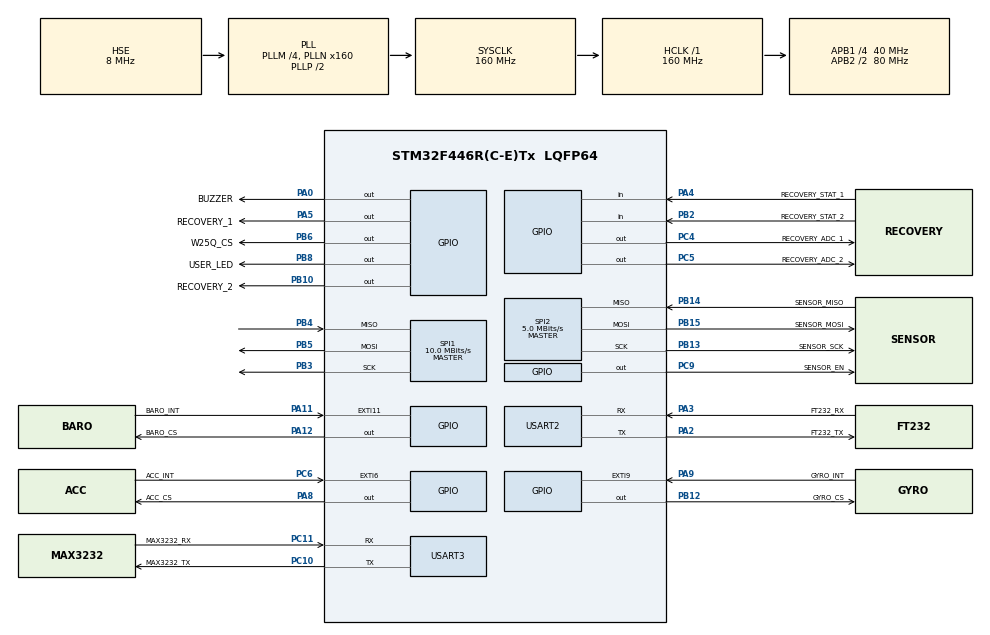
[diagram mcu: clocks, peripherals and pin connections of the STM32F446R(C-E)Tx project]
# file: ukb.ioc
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Dma.Request0=USART2_RX
Dma.Request1=USART2_TX
Dma.Request2=USART3_RX
Dma.Request3=USART3_TX
Dma.Request4=SPI1_TX
Dma.SPI1_TX.4.Direction=DMA_MEMORY_TO_PERIPH
Dma.SPI1_TX.4.FIFOMode=DMA_FIFOMODE_DISABLE
Dma.SPI1_TX.4.Instance=DMA2_Stream3
Dma.SPI1_TX.4.MemDataAlignment=DMA_MDATAALIGN_BYTE
Dma.SPI1_TX.4.MemInc=DMA_MINC_ENABLE
Dma.SPI1_TX.4.Mode=DMA_NORMAL
Dma.SPI1_TX.4.PeriphDataAlignment=DMA_PDATAALIGN_BYTE
Dma.SPI1_TX.4.PeriphInc=DMA_PINC_DISABLE
Dma.SPI1_TX.4.Priority=DMA_PRIORITY_LOW
Dma.USART2_RX.0.Direction=DMA_PERIPH_TO_MEMORY
Dma.USART2_RX.0.FIFOMode=DMA_FIFOMODE_DISABLE
Dma.USART2_RX.0.Instance=DMA1_Stream5
Dma.USART2_RX.0.MemDataAlignment=DMA_MDATAALIGN_BYTE
Dma.USART2_RX.0.MemInc=DMA_MINC_ENABLE
Dma.USART2_RX.0.Mode=DMA_NORMAL
Dma.USART2_RX.0.PeriphDataAlignment=DMA_PDATAALIGN_BYTE
Dma.USART2_RX.0.PeriphInc=DMA_PINC_DISABLE
Dma.USART2_RX.0.Priority=DMA_PRIORITY_LOW
Dma.USART2_TX.1.Direction=DMA_MEMORY_TO_PERIPH
Dma.USART2_TX.1.FIFOMode=DMA_FIFOMODE_DISABLE
Dma.USART2_TX.1.Instance=DMA1_Stream6
Dma.USART2_TX.1.MemDataAlignment=DMA_MDATAALIGN_BYTE
Dma.USART2_TX.1.MemInc=DMA_MINC_ENABLE
Dma.USART2_TX.1.Mode=DMA_NORMAL
Dma.USART2_TX.1.PeriphDataAlignment=DMA_PDATAALIGN_BYTE
Dma.USART2_TX.1.PeriphInc=DMA_PINC_DISABLE
Dma.USART2_TX.1.Priority=DMA_PRIORITY_LOW
Dma.USART3_RX.2.Direction=DMA_PERIPH_TO_MEMORY
Dma.USART3_RX.2.FIFOMode=DMA_FIFOMODE_DISABLE
Dma.USART3_RX.2.Instance=DMA1_Stream1
Dma.USART3_RX.2.MemDataAlignment=DMA_MDATAALIGN_BYTE
Dma.USART3_RX.2.MemInc=DMA_MINC_ENABLE
Dma.USART3_RX.2.Mode=DMA_NORMAL
Dma.USART3_RX.2.PeriphDataAlignment=DMA_PDATAALIGN_BYTE
Dma.USART3_RX.2.PeriphInc=DMA_PINC_DISABLE
Dma.USART3_RX.2.Priority=DMA_PRIORITY_LOW
Dma.USART3_TX.3.Direction=DMA_MEMORY_TO_PERIPH
Dma.USART3_TX.3.FIFOMode=DMA_FIFOMODE_DISABLE
Dma.USART3_TX.3.Instance=DMA1_Stream3
Dma.USART3_TX.3.MemDataAlignment=DMA_MDATAALIGN_BYTE
Dma.USART3_TX.3.MemInc=DMA_MINC_ENABLE
Dma.USART3_TX.3.Mode=DMA_NORMAL
Dma.USART3_TX.3.PeriphDataAlignment=DMA_PDATAALIGN_BYTE
Dma.USART3_TX.3.PeriphInc=DMA_PINC_DISABLE
Dma.USART3_TX.3.Priority=DMA_PRIORITY_LOW
Mcu.Family=STM32F4
Mcu.Name=STM32F446R(C-E)Tx
Mcu.Package=LQFP64
NVIC.DMA1_Stream1_IRQn=true\:2\:0\:true\:false\:true\:false\:true\:true
NVIC.DMA1_Stream3_IRQn=true\:2\:0\:true\:false\:true\:false\:true\:true
NVIC.DMA1_Stream5_IRQn=true\:2\:0\:true\:false\:true\:false\:true\:true
NVIC.DMA1_Stream6_IRQn=true\:2\:0\:true\:false\:true\:false\:true\:true
NVIC.DMA2_Stream3_IRQn=true\:6\:0\:true\:false\:true\:false\:true\:true
NVIC.EXTI15_10_IRQn=true\:1\:0\:true\:false\:true\:true\:true\:true
NVIC.EXTI9_5_IRQn=true\:1\:0\:true\:false\:true\:true\:true\:true
NVIC.PriorityGroup=NVIC_PRIORITYGROUP_4
NVIC.SPI1_IRQn=true\:6\:0\:true\:false\:true\:true\:true\:true
NVIC.TIM2_IRQn=true\:3\:0\:true\:false\:true\:true\:true\:true
NVIC.USART2_IRQn=true\:2\:0\:true\:false\:true\:true\:true\:true
NVIC.USART3_IRQn=true\:2\:0\:true\:false\:true\:true\:true\:true
PA0-WKUP.GPIO_Label=BUZZER
PA0-WKUP.Signal=GPIO_Output
PA11.GPIO_Label=BARO_INT
PA11.Signal=GPXTI11
PA12.GPIO_Label=BARO_CS
PA12.GPIO_PuPd=GPIO_PULLUP
PA12.GPIO_Speed=GPIO_SPEED_FREQ_VERY_HIGH
PA12.PinState=GPIO_PIN_SET
PA12.Signal=GPIO_Output
PA13.Mode=Serial_Wire
PA13.Signal=SYS_JTMS-SWDIO
PA14.Mode=Serial_Wire
PA14.Signal=SYS_JTCK-SWCLK
PA2.GPIO_Label=FT232_TX
PA2.Mode=Asynchronous
PA2.Signal=USART2_TX
PA3.GPIO_Label=FT232_RX
PA3.Mode=Asynchronous
PA3.Signal=USART2_RX
PA4.GPIO_Label=RECOVERY_STAT_1
PA4.Signal=GPIO_Input
PA5.GPIO_Label=RECOVERY_1
PA5.GPIO_PuPd=GPIO_PULLDOWN
PA5.Signal=GPIO_Output
PA8.GPIO_Label=ACC_CS
PA8.GPIO_PuPd=GPIO_PULLUP
PA8.GPIO_Speed=GPIO_SPEED_FREQ_VERY_HIGH
PA8.PinState=GPIO_PIN_SET
PA8.Signal=GPIO_Output
PA9.GPIO_Label=GYRO_INT
PA9.Signal=GPXTI9
PB10.GPIO_Label=RECOVERY_2
PB10.GPIO_PuPd=GPIO_PULLDOWN
PB10.Signal=GPIO_Output
PB12.GPIO_Label=GYRO_CS
PB12.GPIO_PuPd=GPIO_PULLUP
PB12.GPIO_Speed=GPIO_SPEED_FREQ_VERY_HIGH
PB12.PinState=GPIO_PIN_SET
PB12.Signal=GPIO_Output
PB13.GPIO_Label=SENSOR_SCK
PB13.Mode=Full_Duplex_Master
PB13.Signal=SPI2_SCK
PB14.GPIO_Label=SENSOR_MISO
PB14.Mode=Full_Duplex_Master
PB14.Signal=SPI2_MISO
PB15.GPIO_Label=SENSOR_MOSI
PB15.Mode=Full_Duplex_Master
PB15.Signal=SPI2_MOSI
PB2.GPIO_Label=RECOVERY_STAT_2
PB2.Signal=GPIO_Input
PB3.Mode=Full_Duplex_Master
PB3.Signal=SPI1_SCK
PB4.Mode=Full_Duplex_Master
PB4.Signal=SPI1_MISO
PB5.Mode=Full_Duplex_Master
PB5.Signal=SPI1_MOSI
PB6.GPIO_Label=W25Q_CS
PB6.GPIO_PuPd=GPIO_PULLUP
PB6.GPIO_Speed=GPIO_SPEED_FREQ_VERY_HIGH
PB6.PinState=GPIO_PIN_SET
PB6.Signal=GPIO_Output
PB8.GPIO_Label=USER_LED
PB8.Signal=GPIO_Output
PC10.GPIO_Label=MAX3232_TX
PC10.Mode=Asynchronous
PC10.Signal=USART3_TX
PC11.GPIO_Label=MAX3232_RX
PC11.Mode=Asynchronous
PC11.Signal=USART3_RX
PC14-OSC32_IN.Mode=LSE-External-Oscillator
PC14-OSC32_IN.Signal=RCC_OSC32_IN
PC15-OSC32_OUT.Mode=LSE-External-Oscillator
PC15-OSC32_OUT.Signal=RCC_OSC32_OUT
PC4.GPIO_Label=RECOVERY_ADC_1
PC4.Signal=GPIO_Output
PC5.GPIO_Label=RECOVERY_ADC_2
PC5.Signal=GPIO_Output
PC6.GPIO_Label=ACC_INT
PC6.Signal=GPXTI6
PC9.GPIO_Label=SENSOR_EN
PC9.GPIO_PuPd=GPIO_PULLUP
PC9.PinState=GPIO_PIN_SET
PC9.Signal=GPIO_Output
PH0-OSC_IN.Mode=HSE-External-Oscillator
PH0-OSC_IN.Signal=RCC_OSC_IN
PH1-OSC_OUT.Mode=HSE-External-Oscillator
PH1-OSC_OUT.Signal=RCC_OSC_OUT
ProjectManager.HeapSize=0x200
ProjectManager.StackSize=0x400
ProjectManager.TargetToolchain=STM32CubeIDE
RCC.AHBFreq_Value=160000000
RCC.APB1CLKDivider=RCC_HCLK_DIV4
RCC.APB1Freq_Value=40000000
RCC.APB1TimFreq_Value=80000000
RCC.APB2CLKDivider=RCC_HCLK_DIV2
RCC.APB2Freq_Value=80000000
RCC.APB2TimFreq_Value=160000000
RCC.CortexFreq_Value=160000000
RCC.HCLKFreq_Value=160000000
RCC.HSE_VALUE=8000000
RCC.PLLM=4
RCC.PLLN=160
RCC.PLLSourceVirtual=RCC_PLLSOURCE_HSE
RCC.RCC_RTC_Clock_SourceVirtual=RCC_RTCCLKSOURCE_LSE
RCC.SYSCLKFreq_VALUE=160000000
RCC.SYSCLKSource=RCC_SYSCLKSOURCE_PLLCLK
RCC.USBFreq_Value=160000000
RCC.VCOOutputFreq_Value=320000000
RTC.Date=5
RTC.Hours=14
RTC.Month=RTC_MONTH_JULY
RTC.WeekDay=RTC_WEEKDAY_SUNDAY
RTC.Year=26
SPI1.BaudRatePrescaler=SPI_BAUDRATEPRESCALER_8
SPI1.CalculateBaudRate=10.0 MBits/s
SPI1.Direction=SPI_DIRECTION_2LINES
SPI1.Mode=SPI_MODE_MASTER
SPI1.VirtualType=VM_MASTER
SPI2.BaudRatePrescaler=SPI_BAUDRATEPRESCALER_8
SPI2.CalculateBaudRate=5.0 MBits/s
SPI2.Direction=SPI_DIRECTION_2LINES
SPI2.Mode=SPI_MODE_MASTER
SPI2.VirtualType=VM_MASTER
TIM2.Period=999
TIM2.Prescaler=7999
TIM5.Prescaler=79
USART2.VirtualMode=VM_ASYNC
USART3.VirtualMode=VM_ASYNC
VP_RTC_VS_RTC_Activate.Mode=RTC_Enabled
VP_RTC_VS_RTC_Calendar.Mode=RTC_Calendar
VP_TIM2_VS_ClockSourceINT.Mode=Internal
VP_TIM5_VS_ClockSourceINT.Mode=Internal
board=custom

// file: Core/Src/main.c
/* USER CODE BEGIN Header */
/**
 ******************************************************************************
 * @file           : main.c
 * @brief          : Main program body
 ******************************************************************************
 * @attention
 *
 * Copyright (c) 2026 STMicroelectronics.
 * All rights reserved.
 *
 * This software is licensed under terms that can be found in the LICENSE file
 * in the root directory of this software component.
 * If no LICENSE file comes with this software, it is provided AS-IS.
 *
 ******************************************************************************
 */
/* USER CODE END Header */
#include "main.h"

/* USER CODE BEGIN Includes */
#include <stdio.h>
#include <string.h>

#include "bmi088.h"
#include "bmp390.h"
#include "flight_data.h"
#include "data_manager.h"
#include "flight_algorithm.h"
#include "uart_handler.h"
#include "sensor_fusion.h"
#include "quaternion.h"
#include "kalman_filter.h"
#include "backup_domain.h"
#include "w25q.h"

/* USER CODE END Includes */

/* USER CODE BEGIN PD */
//#define UKB_TEST_WITH_TYPE_C
#ifdef UKB_TEST_WITH_TYPE_C
	#define TEST_UART &huart2
    #define TEST_USARTx USART2
#else
    #define TEST_UART &huart3
    #define TEST_USARTx USART3
#endif

/* USER CODE END PD */

RTC_HandleTypeDef hrtc;

SPI_HandleTypeDef hspi1;
SPI_HandleTypeDef hspi2;
DMA_HandleTypeDef hdma_spi1_tx;

TIM_HandleTypeDef htim2;
TIM_HandleTypeDef htim5;

UART_HandleTypeDef huart2;
UART_HandleTypeDef huart3;
DMA_HandleTypeDef hdma_usart2_rx;
DMA_HandleTypeDef hdma_usart2_tx;
DMA_HandleTypeDef hdma_usart3_rx;
DMA_HandleTypeDef hdma_usart3_tx;

/* USER CODE BEGIN PV */
BMI088_HandleTypeDef bmi088;
BMP390_HandleTypeDef bmp390;

FlightData flight_data = { 0 };

UartHandler_HandleTypeDef uart_handler;

Quaternion_HandleTypeDef quaternion;
KalmanFilter_HandleTypeDef kalman;

Backup_Domain_HandleTypeDef backup_domain;

W25Q_HandleTypeDef w25q;
uint8_t flash_data_packet[W25Q_PACKET_SIZE];

volatile uint8_t timer_flag_100ms = 0;

char tx_buffer[200];

/* USER CODE END PV */

void SystemClock_Config(void);
static void MX_GPIO_Init(void);
static void MX_DMA_Init(void);
static void MX_SPI2_Init(void);
static void MX_RTC_Init(void);
static void MX_USART2_UART_Init(void);
static void MX_TIM2_Init(void);
static void MX_TIM5_Init(void);
static void MX_USART3_UART_Init(void);
static void MX_SPI1_Init(void);
/* USER CODE BEGIN PFP */
static void BMI088_IMU_Init(void);
static void BMP390_Baro_Init(void);

static void W25Q_Flash_LogData(void);
/* USER CODE END PFP */

int main(void)
{

	/* MCU Configuration--------------------------------------------------------*/

	/* Reset of all peripherals, Initializes the Flash interface and the Systick. */
	HAL_Init();

	/* Configure the system clock */
	SystemClock_Config();

	/* Initialize all configured peripherals */
	MX_GPIO_Init();
	MX_DMA_Init();
	MX_SPI2_Init();
	MX_RTC_Init();
	MX_USART2_UART_Init();
	MX_TIM2_Init();
	MX_TIM5_Init();
	MX_USART3_UART_Init();
	MX_SPI1_Init();
	/* USER CODE BEGIN 2 */

	HAL_GPIO_WritePin(USER_LED_GPIO_Port, USER_LED_Pin, GPIO_PIN_SET);
	/* use for 100ms interrupt */
	HAL_TIM_Base_Start_IT(&htim2);
	HAL_NVIC_SetPriority(TIM2_IRQn, 2, 0);
	HAL_NVIC_EnableIRQ(TIM2_IRQn);

	/* use to calculate dt in microsecond */
	HAL_TIM_Base_Start(&htim5);

	BackupDomain_Init(&backup_domain, &hrtc);

	if (backup_domain_is_reset_occured(&backup_domain))
	{
		BMI088_IMU_Init();
		BMI088_Config(&bmi088);
		BackupDomain_ReadSRAM(&backup_domain, (uint8_t*) bmi088.configuration.offsets.acc_offset, BACKUP_DOMAIN_ACC_OFFSET, 12);
		BackupDomain_ReadSRAM(&backup_domain, (uint8_t*) bmi088.configuration.offsets.gyro_offset, BACKUP_DOMAIN_GYRO_OFFSET, 12);
		HAL_Delay(20);
		BMI088_Update(&bmi088);

		Quaternion_Recover(&quaternion, -bmi088.data.acc_x, -bmi088.data.acc_y, bmi088.data.acc_z, &backup_domain);

		BMP390_Baro_Init();
		BMP390_Config(&bmp390);
		BackupDomain_ReadSRAM(&backup_domain, (uint8_t*) &bmp390.data.base_altitude, BACKUP_DOMAIN_BASE_ALTITUDE, 4);
		HAL_Delay(50);
		BMP390_Update(&bmp390);
		flight_data.raw.base_altitude = bmp390.data.base_altitude;

		UartHandler_Start(&uart_handler, TEST_UART);

		FlightAlgorithm_Recover(&flight_data, &backup_domain);

		BackupDomain_ReadSRAM(&backup_domain, (uint8_t*) &uart_handler.system_mode, BACKUP_DOMAIN_SYSTEM_MODE, 1);

		KalmanFilter_Init(&kalman);
		KalmanFilter_Recover(&kalman, &backup_domain);

		W25Q_Recover(&w25q, &hspi1, W25Q_CS_GPIO_Port, W25Q_CS_Pin, TEST_UART, &backup_domain);
	}
	else
	{
        HAL_GPIO_WritePin(BUZZER_GPIO_Port, BUZZER_Pin, GPIO_PIN_SET);
        HAL_Delay(500);
		HAL_GPIO_WritePin(BUZZER_GPIO_Port, BUZZER_Pin, GPIO_PIN_RESET);
		HAL_Delay(4000);
		HAL_GPIO_WritePin(USER_LED_GPIO_Port, USER_LED_Pin, GPIO_PIN_RESET);
		HAL_Delay(500);
		HAL_GPIO_WritePin(USER_LED_GPIO_Port, USER_LED_Pin, GPIO_PIN_SET);

		BMI088_IMU_Init();
		BMI088_Config(&bmi088);
		BMI088_GetOffset(&bmi088);
		BackupDomain_WriteSRAM(&backup_domain, (uint8_t*) bmi088.configuration.offsets.acc_offset, BACKUP_DOMAIN_ACC_OFFSET, 12);
		BackupDomain_WriteSRAM(&backup_domain, (uint8_t*) bmi088.configuration.offsets.gyro_offset, BACKUP_DOMAIN_GYRO_OFFSET, 12);
		HAL_Delay(20);
		BMI088_Update(&bmi088);

		Quaternion_Init(&quaternion, -bmi088.data.acc_x, -bmi088.data.acc_y, bmi088.data.acc_z);

		BMP390_Baro_Init();
		BMP390_Config(&bmp390);
		BMP390_SetBaseAltitude(&bmp390);
		BackupDomain_WriteSRAM(&backup_domain, (uint8_t*) &bmp390.data.base_altitude, BACKUP_DOMAIN_BASE_ALTITUDE, 4);
		HAL_Delay(50);
		BMP390_Update(&bmp390);
		flight_data.raw.base_altitude = bmp390.data.base_altitude;

		UartHandler_Start(&uart_handler, TEST_UART);

		FlightAlgorithm_Reset(&flight_data);

		KalmanFilter_Init(&kalman);

		W25Q_Init(&w25q, &hspi1, W25Q_CS_GPIO_Port, W25Q_CS_Pin, TEST_UART);

		HAL_GPIO_WritePin(BUZZER_GPIO_Port, BUZZER_Pin, GPIO_PIN_SET);
		HAL_Delay(500);
		HAL_GPIO_WritePin(BUZZER_GPIO_Port, BUZZER_Pin, GPIO_PIN_RESET);
	}
	HAL_GPIO_WritePin(USER_LED_GPIO_Port, USER_LED_Pin, GPIO_PIN_RESET);

	/* USER CODE END 2 */

	/* Infinite loop */
	/* USER CODE BEGIN WHILE */
	while (1)
	{
		BMI088_Update(&bmi088);
		BMP390_Update(&bmp390);

		DataManager_UpdateFlightData(&flight_data, &bmi088, &bmp390);

		SensorFusion_QuaternionUpdate(&flight_data, &quaternion);

		UartHandler_ProcessPacket(&uart_handler, &w25q);

		if (uart_handler_get_is_command_packet_ready_flag(&uart_handler) == 1)
		{
			uart_handler_clear_is_command_packet_ready_flag(&uart_handler);
			FlightAlgorithm_Reset(&flight_data);
			KalmanFilter_Reset(&kalman);
		}

		if (timer_flag_100ms)
		{
			timer_flag_100ms = 0;

			switch (uart_handler.system_mode)
			{
				case NORMAL_MODE:
					SensorFusion_KalmanUpdate(&flight_data, &kalman, &uart_handler);
					FlightAlgorithm_Update(&flight_data);
					break;

				case SIT_MODE:
					SensorFusion_KalmanUpdate(&flight_data, &kalman, &uart_handler);
					DataManager_UpdateSitPacket(&flight_data, &uart_handler);
					UartHandler_SendSitPacket(&uart_handler);
					break;

				case SUT_MODE:
					DataManager_UpdateFlightDataWithSutPacket(&flight_data, &uart_handler);
					SensorFusion_KalmanUpdate(&flight_data, &kalman, &uart_handler);
					FlightAlgorithm_Update(&flight_data);
					DataManager_UpdateSutStatePacket(&flight_data, &uart_handler);
					UartHandler_SendSutStatePacket(&uart_handler);
					break;
			}

            W25Q_CommandHandler(&w25q);
            W25Q_Flash_LogData();

			DataManager_UpdateBKPSRAMPacket(&flight_data, &uart_handler, &backup_domain, &w25q);
			BackupDomain_WriteSRAM(&backup_domain, flight_data.bkpsram_packet, 0, BKPSRAM_PACKET_SIZE);
		}
		/* USER CODE END WHILE */

	}
}

void SystemClock_Config(void)
{
	RCC_OscInitTypeDef RCC_OscInitStruct = { 0 };
	RCC_ClkInitTypeDef RCC_ClkInitStruct = { 0 };

	/** Configure the main internal regulator output voltage
	 */
	__HAL_RCC_PWR_CLK_ENABLE();
	__HAL_PWR_VOLTAGESCALING_CONFIG(PWR_REGULATOR_VOLTAGE_SCALE1);

	/** Initializes the RCC Oscillators according to the specified parameters
	 * in the RCC_OscInitTypeDef structure.
	 */
	RCC_OscInitStruct.OscillatorType = RCC_OSCILLATORTYPE_HSE | RCC_OSCILLATORTYPE_LSE;
	RCC_OscInitStruct.HSEState = RCC_HSE_ON;
	RCC_OscInitStruct.LSEState = RCC_LSE_ON;
	RCC_OscInitStruct.PLL.PLLState = RCC_PLL_ON;
	RCC_OscInitStruct.PLL.PLLSource = RCC_PLLSOURCE_HSE;
	RCC_OscInitStruct.PLL.PLLM = 4;
	RCC_OscInitStruct.PLL.PLLN = 160;
	RCC_OscInitStruct.PLL.PLLP = RCC_PLLP_DIV2;
	RCC_OscInitStruct.PLL.PLLQ = 2;
	RCC_OscInitStruct.PLL.PLLR = 2;
	if (HAL_RCC_OscConfig(&RCC_OscInitStruct) != HAL_OK)
	{
		Error_Handler();
	}

	/** Initializes the CPU, AHB and APB buses clocks
	 */
	RCC_ClkInitStruct.ClockType = RCC_CLOCKTYPE_HCLK | RCC_CLOCKTYPE_SYSCLK | RCC_CLOCKTYPE_PCLK1 | RCC_CLOCKTYPE_PCLK2;
	RCC_ClkInitStruct.SYSCLKSource = RCC_SYSCLKSOURCE_PLLCLK;
	RCC_ClkInitStruct.AHBCLKDivider = RCC_SYSCLK_DIV1;
	RCC_ClkInitStruct.APB1CLKDivider = RCC_HCLK_DIV4;
	RCC_ClkInitStruct.APB2CLKDivider = RCC_HCLK_DIV2;

	if (HAL_RCC_ClockConfig(&RCC_ClkInitStruct, FLASH_LATENCY_5) != HAL_OK)
	{
		Error_Handler();
	}
}

static void MX_RTC_Init(void)
{

	RTC_TimeTypeDef sTime = { 0 };
	RTC_DateTypeDef sDate = { 0 };

	/** Initialize RTC Only
	 */
	hrtc.Instance = RTC;
	hrtc.Init.HourFormat = RTC_HOURFORMAT_24;
	hrtc.Init.AsynchPrediv = 127;
	hrtc.Init.SynchPrediv = 255;
	hrtc.Init.OutPut = RTC_OUTPUT_DISABLE;
	hrtc.Init.OutPutPolarity = RTC_OUTPUT_POLARITY_HIGH;
	hrtc.Init.OutPutType = RTC_OUTPUT_TYPE_OPENDRAIN;
	if (HAL_RTC_Init(&hrtc) != HAL_OK)
	{
		Error_Handler();
	}

	/* USER CODE BEGIN Check_RTC_BKUP */
	const uint32_t MAGIC_NUMBER = 0x29AE74BF;
	if (HAL_RTCEx_BKUPRead(&hrtc, RTC_BKP_DR0) == MAGIC_NUMBER)
	{
		return;
	}
	/* USER CODE END Check_RTC_BKUP */

	/** Initialize RTC and set the Time and Date
	 */
	sTime.Hours = 0x14;
	sTime.Minutes = 0x0;
	sTime.Seconds = 0x0;
	sTime.DayLightSaving = RTC_DAYLIGHTSAVING_NONE;
	sTime.StoreOperation = RTC_STOREOPERATION_RESET;
	if (HAL_RTC_SetTime(&hrtc, &sTime, RTC_FORMAT_BCD) != HAL_OK)
	{
		Error_Handler();
	}
	sDate.WeekDay = RTC_WEEKDAY_SUNDAY;
	sDate.Month = RTC_MONTH_JULY;
	sDate.Date = 0x5;
	sDate.Year = 0x26;

	if (HAL_RTC_SetDate(&hrtc, &sDate, RTC_FORMAT_BCD) != HAL_OK)
	{
		Error_Handler();
	}
	/* USER CODE BEGIN RTC_Init 2 */
	HAL_RTCEx_BKUPWrite(&hrtc, RTC_BKP_DR0, MAGIC_NUMBER);
	/* USER CODE END RTC_Init 2 */

}

static void MX_SPI1_Init(void)
{

	/* SPI1 parameter configuration*/
	hspi1.Instance = SPI1;
	hspi1.Init.Mode = SPI_MODE_MASTER;
	hspi1.Init.Direction = SPI_DIRECTION_2LINES;
	hspi1.Init.DataSize = SPI_DATASIZE_8BIT;
	hspi1.Init.CLKPolarity = SPI_POLARITY_LOW;
	hspi1.Init.CLKPhase = SPI_PHASE_1EDGE;
	hspi1.Init.NSS = SPI_NSS_SOFT;
	hspi1.Init.BaudRatePrescaler = SPI_BAUDRATEPRESCALER_8;
	hspi1.Init.FirstBit = SPI_FIRSTBIT_MSB;
	hspi1.Init.TIMode = SPI_TIMODE_DISABLE;
	hspi1.Init.CRCCalculation = SPI_CRCCALCULATION_DISABLE;
	hspi1.Init.CRCPolynomial = 10;
	if (HAL_SPI_Init(&hspi1) != HAL_OK)
	{
		Error_Handler();
	}

}

static void MX_SPI2_Init(void)
{

	/* SPI2 parameter configuration*/
	hspi2.Instance = SPI2;
	hspi2.Init.Mode = SPI_MODE_MASTER;
	hspi2.Init.Direction = SPI_DIRECTION_2LINES;
	hspi2.Init.DataSize = SPI_DATASIZE_8BIT;
	hspi2.Init.CLKPolarity = SPI_POLARITY_LOW;
	hspi2.Init.CLKPhase = SPI_PHASE_1EDGE;
	hspi2.Init.NSS = SPI_NSS_SOFT;
	hspi2.Init.BaudRatePrescaler = SPI_BAUDRATEPRESCALER_8;
	hspi2.Init.FirstBit = SPI_FIRSTBIT_MSB;
	hspi2.Init.TIMode = SPI_TIMODE_DISABLE;
	hspi2.Init.CRCCalculation = SPI_CRCCALCULATION_DISABLE;
	hspi2.Init.CRCPolynomial = 10;
	if (HAL_SPI_Init(&hspi2) != HAL_OK)
	{
		Error_Handler();
	}

}

static void MX_TIM2_Init(void)
{

	TIM_ClockConfigTypeDef sClockSourceConfig = { 0 };
	TIM_MasterConfigTypeDef sMasterConfig = { 0 };

	htim2.Instance = TIM2;
	htim2.Init.Prescaler = 7999;
	htim2.Init.CounterMode = TIM_COUNTERMODE_UP;
	htim2.Init.Period = 999;
	htim2.Init.ClockDivision = TIM_CLOCKDIVISION_DIV1;
	htim2.Init.AutoReloadPreload = TIM_AUTORELOAD_PRELOAD_DISABLE;
	if (HAL_TIM_Base_Init(&htim2) != HAL_OK)
	{
		Error_Handler();
	}
	sClockSourceConfig.ClockSource = TIM_CLOCKSOURCE_INTERNAL;
	if (HAL_TIM_ConfigClockSource(&htim2, &sClockSourceConfig) != HAL_OK)
	{
		Error_Handler();
	}
	sMasterConfig.MasterOutputTrigger = TIM_TRGO_RESET;
	sMasterConfig.MasterSlaveMode = TIM_MASTERSLAVEMODE_DISABLE;
	if (HAL_TIMEx_MasterConfigSynchronization(&htim2, &sMasterConfig) != HAL_OK)
	{
		Error_Handler();
	}

}

static void MX_TIM5_Init(void)
{

	TIM_ClockConfigTypeDef sClockSourceConfig = { 0 };
	TIM_MasterConfigTypeDef sMasterConfig = { 0 };

	htim5.Instance = TIM5;
	htim5.Init.Prescaler = 79;
	htim5.Init.CounterMode = TIM_COUNTERMODE_UP;
	htim5.Init.Period = 4294967295;
	htim5.Init.ClockDivision = TIM_CLOCKDIVISION_DIV1;
	htim5.Init.AutoReloadPreload = TIM_AUTORELOAD_PRELOAD_DISABLE;
	if (HAL_TIM_Base_Init(&htim5) != HAL_OK)
	{
		Error_Handler();
	}
	sClockSourceConfig.ClockSource = TIM_CLOCKSOURCE_INTERNAL;
	if (HAL_TIM_ConfigClockSource(&htim5, &sClockSourceConfig) != HAL_OK)
	{
		Error_Handler();
	}
	sMasterConfig.MasterOutputTrigger = TIM_TRGO_RESET;
	sMasterConfig.MasterSlaveMode = TIM_MASTERSLAVEMODE_DISABLE;
	if (HAL_TIMEx_MasterConfigSynchronization(&htim5, &sMasterConfig) != HAL_OK)
	{
		Error_Handler();
	}

}

static void MX_USART2_UART_Init(void)
{

	huart2.Instance = USART2;
	huart2.Init.BaudRate = 115200;
	huart2.Init.WordLength = UART_WORDLENGTH_8B;
	huart2.Init.StopBits = UART_STOPBITS_1;
	huart2.Init.Parity = UART_PARITY_NONE;
	huart2.Init.Mode = UART_MODE_TX_RX;
	huart2.Init.HwFlowCtl = UART_HWCONTROL_NONE;
	huart2.Init.OverSampling = UART_OVERSAMPLING_16;
	if (HAL_UART_Init(&huart2) != HAL_OK)
	{
		Error_Handler();
	}

}

static void MX_USART3_UART_Init(void)
{

	huart3.Instance = USART3;
	huart3.Init.BaudRate = 115200;
	huart3.Init.WordLength = UART_WORDLENGTH_8B;
	huart3.Init.StopBits = UART_STOPBITS_1;
	huart3.Init.Parity = UART_PARITY_NONE;
	huart3.Init.Mode = UART_MODE_TX_RX;
	huart3.Init.HwFlowCtl = UART_HWCONTROL_NONE;
	huart3.Init.OverSampling = UART_OVERSAMPLING_16;
	if (HAL_UART_Init(&huart3) != HAL_OK)
	{
		Error_Handler();
	}

}

static void MX_DMA_Init(void)
{

	/* DMA controller clock enable */
	__HAL_RCC_DMA1_CLK_ENABLE();
	__HAL_RCC_DMA2_CLK_ENABLE();

	/* DMA interrupt init */
	/* DMA1_Stream1_IRQn interrupt configuration */
	HAL_NVIC_SetPriority(DMA1_Stream1_IRQn, 2, 0);
	HAL_NVIC_EnableIRQ(DMA1_Stream1_IRQn);
	/* DMA1_Stream3_IRQn interrupt configuration */
	HAL_NVIC_SetPriority(DMA1_Stream3_IRQn, 2, 0);
	HAL_NVIC_EnableIRQ(DMA1_Stream3_IRQn);
	/* DMA1_Stream5_IRQn interrupt configuration */
	HAL_NVIC_SetPriority(DMA1_Stream5_IRQn, 2, 0);
	HAL_NVIC_EnableIRQ(DMA1_Stream5_IRQn);
	/* DMA1_Stream6_IRQn interrupt configuration */
	HAL_NVIC_SetPriority(DMA1_Stream6_IRQn, 2, 0);
	HAL_NVIC_EnableIRQ(DMA1_Stream6_IRQn);
	/* DMA2_Stream3_IRQn interrupt configuration */
	HAL_NVIC_SetPriority(DMA2_Stream3_IRQn, 6, 0);
	HAL_NVIC_EnableIRQ(DMA2_Stream3_IRQn);

}

static void MX_GPIO_Init(void)
{
	GPIO_InitTypeDef GPIO_InitStruct = { 0 };

	/* GPIO Ports Clock Enable */
	__HAL_RCC_GPIOC_CLK_ENABLE();
	__HAL_RCC_GPIOH_CLK_ENABLE();
	__HAL_RCC_GPIOA_CLK_ENABLE();
	__HAL_RCC_GPIOB_CLK_ENABLE();

	/*Configure GPIO pin Output Level */
	HAL_GPIO_WritePin(GPIOA, BUZZER_Pin | RECOVERY_1_Pin, GPIO_PIN_RESET);

	/*Configure GPIO pin Output Level */
	HAL_GPIO_WritePin(GPIOC, RECOVERY_ADC_1_Pin | RECOVERY_ADC_2_Pin, GPIO_PIN_RESET);

	/*Configure GPIO pin Output Level */
	HAL_GPIO_WritePin(GPIOB, RECOVERY_2_Pin | USER_LED_Pin, GPIO_PIN_RESET);

	/*Configure GPIO pin Output Level */
	HAL_GPIO_WritePin(GPIOB, GYRO_CS_Pin | W25Q_CS_Pin, GPIO_PIN_SET);

	/*Configure GPIO pin Output Level */
	HAL_GPIO_WritePin(SENSOR_EN_GPIO_Port, SENSOR_EN_Pin, GPIO_PIN_SET);

	/*Configure GPIO pin Output Level */
	HAL_GPIO_WritePin(GPIOA, ACC_CS_Pin | BARO_CS_Pin, GPIO_PIN_SET);

	/*Configure GPIO pin : BUZZER_Pin */
	GPIO_InitStruct.Pin = BUZZER_Pin;
	GPIO_InitStruct.Mode = GPIO_MODE_OUTPUT_PP;
	GPIO_InitStruct.Pull = GPIO_NOPULL;
	GPIO_InitStruct.Speed = GPIO_SPEED_FREQ_LOW;
	HAL_GPIO_Init(BUZZER_GPIO_Port, &GPIO_InitStruct);

	/*Configure GPIO pin : RECOVERY_STAT_1_Pin */
	GPIO_InitStruct.Pin = RECOVERY_STAT_1_Pin;
	GPIO_InitStruct.Mode = GPIO_MODE_INPUT;
	GPIO_InitStruct.Pull = GPIO_NOPULL;
	HAL_GPIO_Init(RECOVERY_STAT_1_GPIO_Port, &GPIO_InitStruct);

	/*Configure GPIO pin : RECOVERY_1_Pin */
	GPIO_InitStruct.Pin = RECOVERY_1_Pin;
	GPIO_InitStruct.Mode = GPIO_MODE_OUTPUT_PP;
	GPIO_InitStruct.Pull = GPIO_PULLDOWN;
	GPIO_InitStruct.Speed = GPIO_SPEED_FREQ_LOW;
	HAL_GPIO_Init(RECOVERY_1_GPIO_Port, &GPIO_InitStruct);

	/*Configure GPIO pins : RECOVERY_ADC_1_Pin RECOVERY_ADC_2_Pin */
	GPIO_InitStruct.Pin = RECOVERY_ADC_1_Pin | RECOVERY_ADC_2_Pin;
	GPIO_InitStruct.Mode = GPIO_MODE_OUTPUT_PP;
	GPIO_InitStruct.Pull = GPIO_NOPULL;
	GPIO_InitStruct.Speed = GPIO_SPEED_FREQ_LOW;
	HAL_GPIO_Init(GPIOC, &GPIO_InitStruct);

	/*Configure GPIO pin : RECOVERY_STAT_2_Pin */
	GPIO_InitStruct.Pin = RECOVERY_STAT_2_Pin;
	GPIO_InitStruct.Mode = GPIO_MODE_INPUT;
	GPIO_InitStruct.Pull = GPIO_NOPULL;
	HAL_GPIO_Init(RECOVERY_STAT_2_GPIO_Port, &GPIO_InitStruct);

	/*Configure GPIO pin : RECOVERY_2_Pin */
	GPIO_InitStruct.Pin = RECOVERY_2_Pin;
	GPIO_InitStruct.Mode = GPIO_MODE_OUTPUT_PP;
	GPIO_InitStruct.Pull = GPIO_PULLDOWN;
	GPIO_InitStruct.Speed = GPIO_SPEED_FREQ_LOW;
	HAL_GPIO_Init(RECOVERY_2_GPIO_Port, &GPIO_InitStruct);

	/*Configure GPIO pins : GYRO_CS_Pin W25Q_CS_Pin */
	GPIO_InitStruct.Pin = GYRO_CS_Pin | W25Q_CS_Pin;
	GPIO_InitStruct.Mode = GPIO_MODE_OUTPUT_PP;
	GPIO_InitStruct.Pull = GPIO_PULLUP;
	GPIO_InitStruct.Speed = GPIO_SPEED_FREQ_VERY_HIGH;
	HAL_GPIO_Init(GPIOB, &GPIO_InitStruct);

	/*Configure GPIO pin : ACC_INT_Pin */
	GPIO_InitStruct.Pin = ACC_INT_Pin;
	GPIO_InitStruct.Mode = GPIO_MODE_IT_RISING;
	GPIO_InitStruct.Pull = GPIO_NOPULL;
	HAL_GPIO_Init(ACC_INT_GPIO_Port, &GPIO_InitStruct);

	/*Configure GPIO pin : SENSOR_EN_Pin */
	GPIO_InitStruct.Pin = SENSOR_EN_Pin;
	GPIO_InitStruct.Mode = GPIO_MODE_OUTPUT_PP;
	GPIO_InitStruct.Pull = GPIO_PULLUP;
	GPIO_InitStruct.Speed = GPIO_SPEED_FREQ_LOW;
	HAL_GPIO_Init(SENSOR_EN_GPIO_Port, &GPIO_InitStruct);

	/*Configure GPIO pins : ACC_CS_Pin BARO_CS_Pin */
	GPIO_InitStruct.Pin = ACC_CS_Pin | BARO_CS_Pin;
	GPIO_InitStruct.Mode = GPIO_MODE_OUTPUT_PP;
	GPIO_InitStruct.Pull = GPIO_PULLUP;
	GPIO_InitStruct.Speed = GPIO_SPEED_FREQ_VERY_HIGH;
	HAL_GPIO_Init(GPIOA, &GPIO_InitStruct);

	/*Configure GPIO pins : GYRO_INT_Pin BARO_INT_Pin */
	GPIO_InitStruct.Pin = GYRO_INT_Pin | BARO_INT_Pin;
	GPIO_InitStruct.Mode = GPIO_MODE_IT_RISING;
	GPIO_InitStruct.Pull = GPIO_NOPULL;
	HAL_GPIO_Init(GPIOA, &GPIO_InitStruct);

	/*Configure GPIO pin : USER_LED_Pin */
	GPIO_InitStruct.Pin = USER_LED_Pin;
	GPIO_InitStruct.Mode = GPIO_MODE_OUTPUT_PP;
	GPIO_InitStruct.Pull = GPIO_NOPULL;
	GPIO_InitStruct.Speed = GPIO_SPEED_FREQ_LOW;
	HAL_GPIO_Init(USER_LED_GPIO_Port, &GPIO_InitStruct);

	/* EXTI interrupt init*/
	HAL_NVIC_SetPriority(EXTI9_5_IRQn, 1, 0);
	HAL_NVIC_EnableIRQ(EXTI9_5_IRQn);

	HAL_NVIC_SetPriority(EXTI15_10_IRQn, 1, 0);
	HAL_NVIC_EnableIRQ(EXTI15_10_IRQn);

	/* USER CODE BEGIN MX_GPIO_Init_2 */
	HAL_NVIC_DisableIRQ(ACC_INT_EXTI_IRQn);
	HAL_NVIC_DisableIRQ(GYRO_INT_EXTI_IRQn);
	HAL_NVIC_DisableIRQ(BARO_INT_EXTI_IRQn);
	/* USER CODE END MX_GPIO_Init_2 */
}

/* USER CODE BEGIN 4 */
void HAL_TIM_PeriodElapsedCallback(TIM_HandleTypeDef *htim)
{
	if (htim == &htim2)
	{
		timer_flag_100ms++;
	}
}

void HAL_UART_TxCpltCallback(UART_HandleTypeDef *huart)
{
	if (huart->Instance == TEST_USARTx)
	{
		uart_handler_dma_cplt_callback(&uart_handler);
	}
}

void HAL_UARTEx_RxEventCallback(UART_HandleTypeDef *huart, uint16_t Size)
{
	if (huart->Instance == TEST_USARTx)
	{
		uart_handler_rx_event_callback(&uart_handler, Size);
	}
}

void HAL_GPIO_EXTI_Callback(uint16_t GPIO_Pin)
{
	if (GPIO_Pin == ACC_INT_Pin)
	{
		bmi088_set_accel_INT(&bmi088);
	}
	if (GPIO_Pin == GYRO_INT_Pin)
	{
		bmi088_set_gyro_INT(&bmi088);
	}
	if (GPIO_Pin == BARO_INT_Pin)
	{
		bmp390_set_INT(&bmp390);
	}
}

void HAL_SPI_TxCpltCallback(SPI_HandleTypeDef *hspi)
{
	if (hspi->Instance == hspi1.Instance)
	{
		w25q_dma_cplt_callback(&w25q);
	}
}

static void BMP390_Baro_Init(void)
{
	bmp390.configuration.spi = &hspi2;
	bmp390.configuration.cs_gpio_port = BARO_CS_GPIO_Port;
	bmp390.configuration.cs_gpio_pin = BARO_CS_Pin;
	bmp390.configuration.IRQ = BARO_INT_EXTI_IRQn;

	bmp390.configuration.mode = BMP390_NORMAL_MODE;
	bmp390.configuration.odr = BMP390_ODR_50;
	bmp390.configuration.osr_pressure = BMP390_PRESSURE_OSR_4;
	bmp390.configuration.osr_temperature = BMP390_TEMPERATURE_OSR_1;
	bmp390.configuration.iir_filter_coefficient = BMP390_IIR_FILTER_COEFFICIENT_0;

	BMP390_Init(&bmp390);
}

static void BMI088_IMU_Init(void)
{
	bmi088.configuration.spi = &hspi2;
	bmi088.configuration.accel_cs_gpio_port = ACC_CS_GPIO_Port;
	bmi088.configuration.accel_cs_gpio_pin = ACC_CS_Pin;
	bmi088.configuration.gyro_cs_gpio_port = GYRO_CS_GPIO_Port;
	bmi088.configuration.gyro_cs_gpio_pin = GYRO_CS_Pin;
	bmi088.configuration.acc_IRQ = ACC_INT_EXTI_IRQn;
	bmi088.configuration.gyro_IRQ = GYRO_INT_EXTI_IRQn;
	bmi088.configuration.htim = &htim5;

	bmi088.configuration.acc_power_mode = BMI088_ACC_PWR_MODE_ACTIVE;
	bmi088.configuration.acc_range = BMI088_ACC_RANGE_24;
	bmi088.configuration.acc_odr = BMI088_ACC_ODR_200;
	bmi088.configuration.acc_bandwidth = BMI088_ACC_BANDWIDTH_OSR_4;

	bmi088.configuration.gyro_pwr_mode = BMI088_GYRO_PWR_MODE_NORMAL;
	bmi088.configuration.gyro_range = BMI088_GYRO_RANGE_2000;
	bmi088.configuration.gyro_bandwidth = BMI088_GYRO_BANDWIDTH_116;

	BMI088_Init(&bmi088);
}

static void W25Q_Flash_LogData(void)
{
    if (flight_algorithm_get_flight_phase() == PHASE_IDLE || flight_algorithm_get_flight_phase() == PHASE_LANDED)
    {
        static uint8_t flash_log_counter = 0;
        flash_log_counter++;
        if (flash_log_counter >= 10)
        {
            flash_log_counter = 0;
            DataManager_PackFlashData(&flight_data, flash_data_packet, &uart_handler, &backup_domain, &kalman, &bmp390, &quaternion);
            W25Q_LogData(&w25q, flash_data_packet);
        }
    }
    else
    {
        DataManager_PackFlashData(&flight_data, flash_data_packet, &uart_handler, &backup_domain, &kalman, &bmp390, &quaternion);
        W25Q_LogData(&w25q, flash_data_packet);
    }
}

/* USER CODE END 4 */

void Error_Handler(void)
{
	__disable_irq();
	while (1)
	{
	}
}
